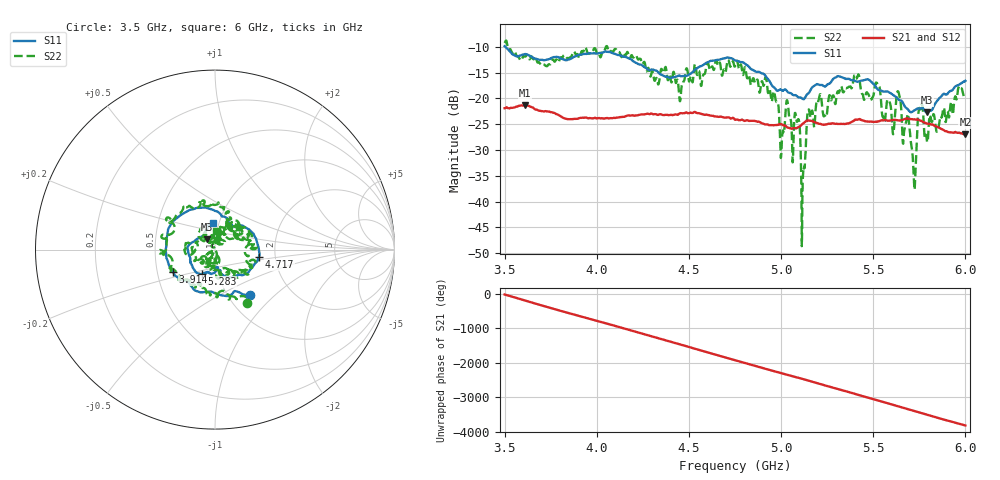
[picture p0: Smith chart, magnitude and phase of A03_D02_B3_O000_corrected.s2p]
! Created with skrf 1.9.0 (http://scikit-rf.org).
# Hz S RI R 50.0
!freq ReS11 ImS11 ReS21 ImS21 ReS12 ImS12 ReS22 ImS22
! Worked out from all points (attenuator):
!   1601 points, 3.5 GHz to 6 GHz, reference 50 ohm
!   highest |S21| = -21.32 dB at 3.611 GHz (marker M1); lowest = -27.0 dB at 6 GHz (marker M2)
!   lowest |S11| = -22.7 dB at 5.791 GHz (marker M3), VSWR 1.16, Z = 45.2 + j5.12 ohm
!   |S11| at or under -10 dB: 3.505 GHz to end of sweep
!   |S22| runs from -48.6 to -8.8 dB; largest |S21 - S12| = 0.001
!   S11 on the Smith chart (normalised r, x): 3.5 GHz: 1.26, -0.72; 3.914 GHz: 0.60, -0.16; 4.717 GHz: 1.64, -0.14; 5.283 GHz: 0.83, -0.23; 6 GHz: 0.93, +0.28
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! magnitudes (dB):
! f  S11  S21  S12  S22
! 3.5 GHz  -9.9  -21.9  -21.9  -9.2
! 3.611 GHz  -11.4  -21.3  -21.3  -11.9
! 3.914 GHz  -11.5  -23.8  -23.7  -11.1
! 3.917 GHz  -11.5  -23.8  -23.7  -10.9
! 4.334 GHz  -15.0  -23.2  -23.1  -17.3
! 4.717 GHz  -12.1  -23.7  -23.7  -12.8
! 4.75 GHz  -12.6  -24.1  -24.0  -13.8
! 4.969 GHz  -18.1  -25.2  -25.1  -20.0
! 5.005 GHz  -18.4  -25.0  -25.0  -27.8
! 5.033 GHz  -18.6  -25.6  -25.5  -20.3
! 5.086 GHz  -19.5  -25.7  -25.7  -24.5
! 5.119 GHz  -20.1  -24.9  -24.8  -34.9
! 5.147 GHz  -19.0  -24.3  -24.3  -22.3
! 5.167 GHz  -17.9  -24.4  -24.3  -22.4
! 5.283 GHz  -16.2  -24.8  -24.7  -19.4
! 5.411 GHz  -16.7  -24.1  -24.1  -15.9
! 5.584 GHz  -18.8  -24.3  -24.3  -20.4
! 5.639 GHz  -20.3  -24.3  -24.2  -19.0
! 5.72 GHz  -22.3  -24.0  -24.0  -35.5
! 5.755 GHz  -22.0  -24.3  -24.2  -22.1
! 5.791 GHz  -22.7  -24.9  -24.8  -28.0
! 6 GHz  -16.6  -27.0  -26.9  -19.5
